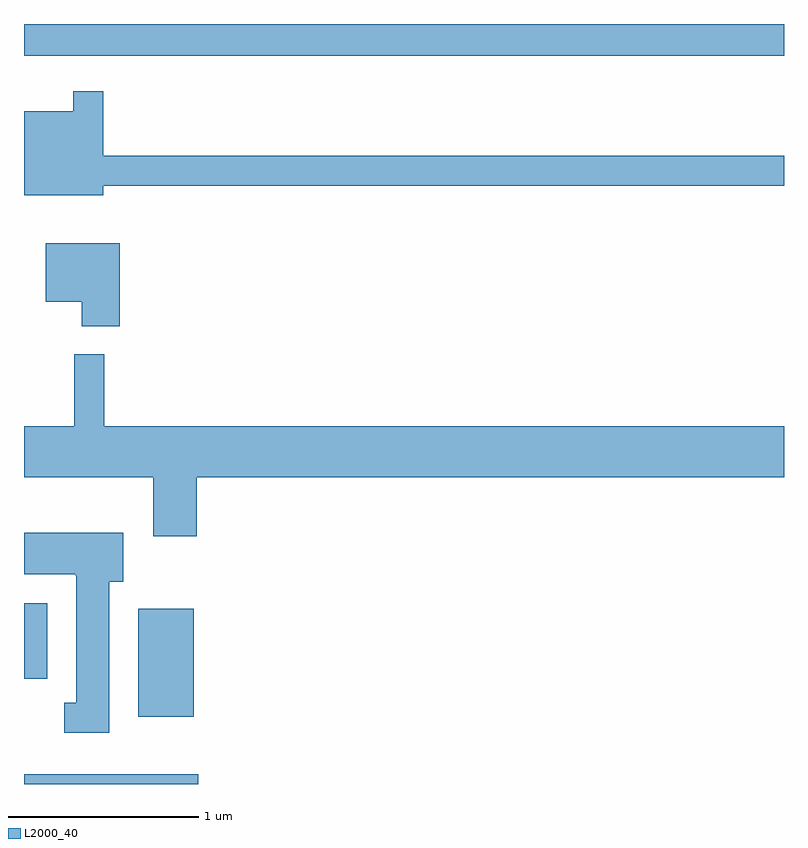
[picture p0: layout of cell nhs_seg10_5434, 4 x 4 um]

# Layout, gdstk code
import gdstk
lib = gdstk.Library(unit=1e-6, precision=1e-09)
def R(c, l, rs):  # rectangles x0, y0, x1, y1
    for r in rs: c.add(gdstk.rectangle(r[:2], r[2:], *l))
def P(c, l, *ps):  # polygons
    for p in ps: c.add(gdstk.Polygon(p, *l))
L2000_40 = (2000, 40)

nhs_seg10_5434 = lib.new_cell('nhs_seg10_5434')
R(nhs_seg10_5434, L2000_40, [(345.611,2114.522,346.528,2114.574), (346.211,2114.876,346.504,2115.444), (345.611,2115.076,345.734,2115.474), (345.611,2118.356,349.611,2118.522)])
P(nhs_seg10_5434, L2000_40, [(346.029,2117.671),(349.611,2117.671),(349.611,2117.829),(346.029,2117.829),(346.029,2118.168),(345.871,2118.168),(345.871,2118.064),(345.611,2118.064),(345.611,2117.621),(346.029,2117.621)],
  [(346.114,2117.369),(345.726,2117.369),(345.726,2117.061),(345.916,2117.061),(345.916,2116.931),(346.114,2116.931)],
  [(346.519,2116.136),(349.611,2116.136),(349.611,2116.404),(346.034,2116.404),(346.034,2116.783),(345.876,2116.783),(345.876,2116.404),(345.611,2116.404),(345.611,2116.136),(346.291,2116.136),(346.291,2115.826),(346.519,2115.826)],
  [(346.059,2115.586),(346.134,2115.586),(346.134,2115.844),(345.611,2115.844),(345.611,2115.626),(345.88,2115.626),(345.88,2115.62),(345.886,2115.62),(345.886,2114.949),(345.823,2114.949),(345.823,2114.791),(346.059,2114.791)])

lib.write_gds('nhs_seg10_5434.gds')
